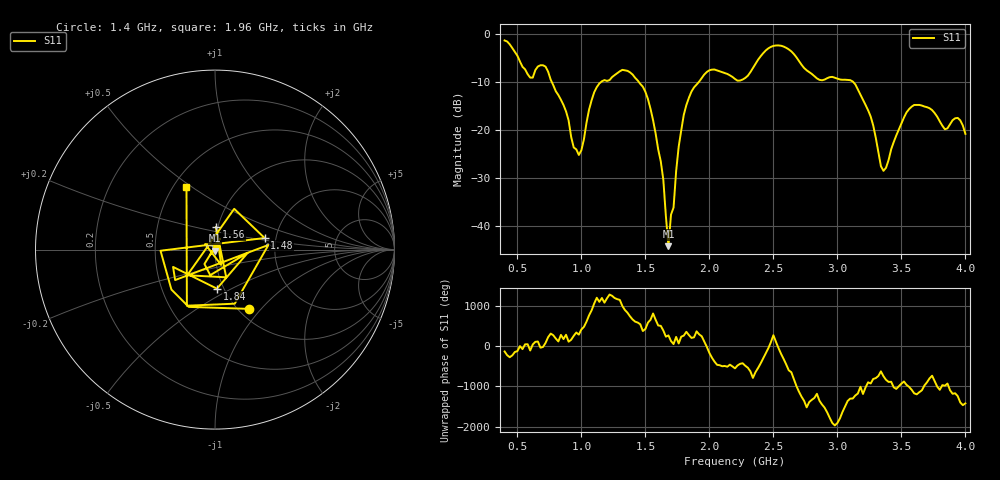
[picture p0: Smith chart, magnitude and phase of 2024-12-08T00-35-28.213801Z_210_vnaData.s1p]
!Created with skrf (http://scikit-rf.org).
# Hz S RI R 50.0
!freq ReS11 ImS11
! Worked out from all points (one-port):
!   181 points, 400 MHz to 4 GHz, reference 50 ohm
!   lowest |S11| = -44.2 dB at 1.68 GHz (marker M1), VSWR 1.01, Z = 49.9 - j0.611 ohm
!   |S11| at or under -10 dB: 769.4 MHz to 1.152 GHz (382.4 MHz wide, 39.8 % of centre); 1.45 GHz to 1.916 GHz (465.9 MHz wide, 27.7 % of centre); 3.125 GHz to end of sweep
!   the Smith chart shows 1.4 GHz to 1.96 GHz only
!   S11 on the Smith chart (normalised r, x): 1.4 GHz: 1.11, -0.86; 1.48 GHz: 1.74, +0.24; 1.56 GHz: 0.98, +0.25; 1.84 GHz: 0.93, -0.42; 1.96 GHz: 0.58, +0.47
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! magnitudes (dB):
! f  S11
! 400 MHz  -1.3
! 600 MHz  -9.0
! 720 MHz  -6.7
! 860 MHz  -14.7
! 980 MHz  -25.2
! 1.1 GHz  -12.1
! 1.3 GHz  -7.7
! 1.4 GHz  -8.4
! 1.48 GHz  -10.9
! 1.56 GHz  -17.9
! 1.64 GHz  -30.4
! 1.68 GHz  -44.2
! 1.72 GHz  -36.2
! 1.76 GHz  -23.5
! 1.84 GHz  -13.2
! 1.96 GHz  -8.4
! 2.2 GHz  -9.3
! 2.48 GHz  -2.6
! 2.66 GHz  -4.1
! 2.86 GHz  -9.5
! 3.1 GHz  -9.6
! 3.26 GHz  -17.2
! 3.36 GHz  -28.5
! 3.56 GHz  -15.6
! 3.72 GHz  -15.4
! 3.84 GHz  -19.8
! 3.94 GHz  -17.5
! 4 GHz  -20.8
